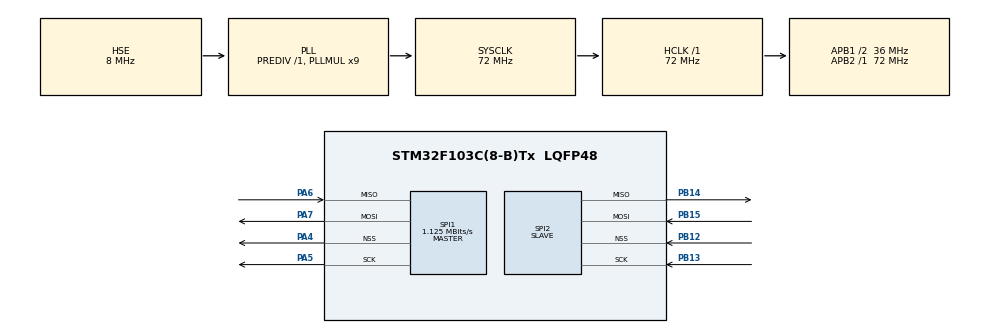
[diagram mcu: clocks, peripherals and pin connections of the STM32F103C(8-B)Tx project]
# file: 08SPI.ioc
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Mcu.Family=STM32F1
Mcu.Name=STM32F103C(8-B)Tx
Mcu.Package=LQFP48
NVIC.PriorityGroup=NVIC_PRIORITYGROUP_4
PA13.Mode=Serial_Wire
PA13.Signal=SYS_JTMS-SWDIO
PA14.Mode=Serial_Wire
PA14.Signal=SYS_JTCK-SWCLK
PA4.Mode=NSS_Signal_Hard_Output
PA4.Signal=SPI1_NSS
PA5.Mode=Full_Duplex_Master
PA5.Signal=SPI1_SCK
PA6.Mode=Full_Duplex_Master
PA6.Signal=SPI1_MISO
PA7.Mode=Full_Duplex_Master
PA7.Signal=SPI1_MOSI
PB12.Mode=NSS_Signal_Hard_Input
PB12.Signal=SPI2_NSS
PB13.Mode=Full_Duplex_Slave
PB13.Signal=SPI2_SCK
PB14.Mode=Full_Duplex_Slave
PB14.Signal=SPI2_MISO
PB15.Mode=Full_Duplex_Slave
PB15.Signal=SPI2_MOSI
PD0-OSC_IN.Mode=HSE-External-Oscillator
PD0-OSC_IN.Signal=RCC_OSC_IN
PD1-OSC_OUT.Mode=HSE-External-Oscillator
PD1-OSC_OUT.Signal=RCC_OSC_OUT
ProjectManager.HeapSize=0x200
ProjectManager.StackSize=0x400
ProjectManager.TargetToolchain=CMake
RCC.AHBFreq_Value=72000000
RCC.APB1CLKDivider=RCC_HCLK_DIV2
RCC.APB1Freq_Value=36000000
RCC.APB1TimFreq_Value=72000000
RCC.APB2Freq_Value=72000000
RCC.APB2TimFreq_Value=72000000
RCC.HCLKFreq_Value=72000000
RCC.PLLMUL=RCC_PLL_MUL9
RCC.PLLSourceVirtual=RCC_PLLSOURCE_HSE
RCC.SYSCLKFreq_VALUE=72000000
RCC.SYSCLKSource=RCC_SYSCLKSOURCE_PLLCLK
RCC.USBFreq_Value=72000000
SPI1.BaudRatePrescaler=SPI_BAUDRATEPRESCALER_64
SPI1.CalculateBaudRate=1.125 MBits/s
SPI1.Direction=SPI_DIRECTION_2LINES
SPI1.Mode=SPI_MODE_MASTER
SPI1.VirtualNSS=VM_NSSHARD
SPI1.VirtualType=VM_MASTER
SPI2.Direction=SPI_DIRECTION_2LINES
SPI2.Mode=SPI_MODE_SLAVE
SPI2.VirtualNSS=VM_NSSHARD
SPI2.VirtualType=VM_SLAVE
board=custom

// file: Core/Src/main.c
/* USER CODE BEGIN Header */
/**
  ******************************************************************************
  * @file           : main.c
  * @brief          : Main program body
  ******************************************************************************
  * @attention
  *
  * Copyright (c) 2026 STMicroelectronics.
  * All rights reserved.
  *
  * This software is licensed under terms that can be found in the LICENSE file
  * in the root directory of this software component.
  * If no LICENSE file comes with this software, it is provided AS-IS.
  *
  ******************************************************************************
  */
/* USER CODE END Header */
#include "main.h"

SPI_HandleTypeDef hspi1;
SPI_HandleTypeDef hspi2;

/* USER CODE BEGIN PV */
volatile uint8_t spi2_done = 0;
/* USER CODE END PV */

void SystemClock_Config(void);
static void MX_GPIO_Init(void);
static void MX_SPI1_Init(void);
static void MX_SPI2_Init(void);
/* USER CODE BEGIN PFP */
void HAL_SPI_TxRxCpltCallback(SPI_HandleTypeDef *hspi);
/* USER CODE END PFP */

/* USER CODE BEGIN 0 */
void HAL_SPI_TxRxCpltCallback(SPI_HandleTypeDef *hspi)
{
  if (hspi->Instance == SPI2) {
    spi2_done = 1;
  }
}
/* USER CODE END 0 */

int main(void)
{

  /* MCU Configuration--------------------------------------------------------*/

  /* Reset of all peripherals, Initializes the Flash interface and the Systick. */
  HAL_Init();

  /* Configure the system clock */
  SystemClock_Config();

  /* Initialize all configured peripherals */
  MX_GPIO_Init();
  MX_SPI1_Init();
  MX_SPI2_Init();
  /* USER CODE BEGIN 2 */
  HAL_NVIC_SetPriority(SPI2_IRQn, 1, 0);
  HAL_NVIC_EnableIRQ(SPI2_IRQn);
  /* USER CODE END 2 */

  /* Infinite loop */
  /* USER CODE BEGIN WHILE */
  uint8_t master_tx = 0xA5;
  uint8_t master_rx = 0;
  uint8_t slave_tx = 0x5A;
  uint8_t slave_rx = 0;
  HAL_StatusTypeDef result;

  while (1)
  {
    /* USER CODE END WHILE */

    /* USER CODE BEGIN 3 */
    spi2_done = 0;

    /* Arm slave: prepare RX/TX buffers (interrupt-driven, non-blocking) */
    if (HAL_SPI_TransmitReceive_IT(&hspi2, &slave_tx, &slave_rx, 1) != HAL_OK) {
      Error_Handler();
    }

    /* Master: blocking transmit-receive, generates SCK for both sides */
    result = HAL_SPI_TransmitReceive(&hspi1, &master_tx, &master_rx, 1, 100);
    if (result != HAL_OK) {
      Error_Handler();
    }

    /* Wait up to 10ms for slave interrupt to finish */
    uint32_t tickstart = HAL_GetTick();
    while (!spi2_done && (HAL_GetTick() - tickstart < 10)) {}

    if (!spi2_done) {
      Error_Handler();
    }

    /* Toggle test data for next round */
    master_tx ^= 0xFF;
    slave_tx ^= 0xFF;

    HAL_Delay(500);
  }
  /* USER CODE END 3 */
}

void SystemClock_Config(void)
{
  RCC_OscInitTypeDef RCC_OscInitStruct = {0};
  RCC_ClkInitTypeDef RCC_ClkInitStruct = {0};

  /** Initializes the RCC Oscillators according to the specified parameters
  * in the RCC_OscInitTypeDef structure.
  */
  RCC_OscInitStruct.OscillatorType = RCC_OSCILLATORTYPE_HSE;
  RCC_OscInitStruct.HSEState = RCC_HSE_ON;
  RCC_OscInitStruct.HSEPredivValue = RCC_HSE_PREDIV_DIV1;
  RCC_OscInitStruct.HSIState = RCC_HSI_ON;
  RCC_OscInitStruct.PLL.PLLState = RCC_PLL_ON;
  RCC_OscInitStruct.PLL.PLLSource = RCC_PLLSOURCE_HSE;
  RCC_OscInitStruct.PLL.PLLMUL = RCC_PLL_MUL9;
  if (HAL_RCC_OscConfig(&RCC_OscInitStruct) != HAL_OK)
  {
    Error_Handler();
  }

  /** Initializes the CPU, AHB and APB buses clocks
  */
  RCC_ClkInitStruct.ClockType = RCC_CLOCKTYPE_HCLK|RCC_CLOCKTYPE_SYSCLK
                              |RCC_CLOCKTYPE_PCLK1|RCC_CLOCKTYPE_PCLK2;
  RCC_ClkInitStruct.SYSCLKSource = RCC_SYSCLKSOURCE_PLLCLK;
  RCC_ClkInitStruct.AHBCLKDivider = RCC_SYSCLK_DIV1;
  RCC_ClkInitStruct.APB1CLKDivider = RCC_HCLK_DIV2;
  RCC_ClkInitStruct.APB2CLKDivider = RCC_HCLK_DIV1;

  if (HAL_RCC_ClockConfig(&RCC_ClkInitStruct, FLASH_LATENCY_2) != HAL_OK)
  {
    Error_Handler();
  }
}

static void MX_SPI1_Init(void)
{

  /* SPI1 parameter configuration*/
  hspi1.Instance = SPI1;
  hspi1.Init.Mode = SPI_MODE_MASTER;
  hspi1.Init.Direction = SPI_DIRECTION_2LINES;
  hspi1.Init.DataSize = SPI_DATASIZE_8BIT;
  hspi1.Init.CLKPolarity = SPI_POLARITY_LOW;
  hspi1.Init.CLKPhase = SPI_PHASE_1EDGE;
  hspi1.Init.NSS = SPI_NSS_HARD_OUTPUT;
  hspi1.Init.BaudRatePrescaler = SPI_BAUDRATEPRESCALER_64;
  hspi1.Init.FirstBit = SPI_FIRSTBIT_MSB;
  hspi1.Init.TIMode = SPI_TIMODE_DISABLE;
  hspi1.Init.CRCCalculation = SPI_CRCCALCULATION_DISABLE;
  hspi1.Init.CRCPolynomial = 10;
  if (HAL_SPI_Init(&hspi1) != HAL_OK)
  {
    Error_Handler();
  }

}

static void MX_SPI2_Init(void)
{

  /* SPI2 parameter configuration*/
  hspi2.Instance = SPI2;
  hspi2.Init.Mode = SPI_MODE_SLAVE;
  hspi2.Init.Direction = SPI_DIRECTION_2LINES;
  hspi2.Init.DataSize = SPI_DATASIZE_8BIT;
  hspi2.Init.CLKPolarity = SPI_POLARITY_LOW;
  hspi2.Init.CLKPhase = SPI_PHASE_1EDGE;
  hspi2.Init.NSS = SPI_NSS_HARD_INPUT;
  hspi2.Init.FirstBit = SPI_FIRSTBIT_MSB;
  hspi2.Init.TIMode = SPI_TIMODE_DISABLE;
  hspi2.Init.CRCCalculation = SPI_CRCCALCULATION_DISABLE;
  hspi2.Init.CRCPolynomial = 10;
  if (HAL_SPI_Init(&hspi2) != HAL_OK)
  {
    Error_Handler();
  }

}

static void MX_GPIO_Init(void)
{

  /* GPIO Ports Clock Enable */
  __HAL_RCC_GPIOD_CLK_ENABLE();
  __HAL_RCC_GPIOA_CLK_ENABLE();
  __HAL_RCC_GPIOB_CLK_ENABLE();

}

void Error_Handler(void)
{
  __disable_irq();
  while (1)
  {
  }
}
